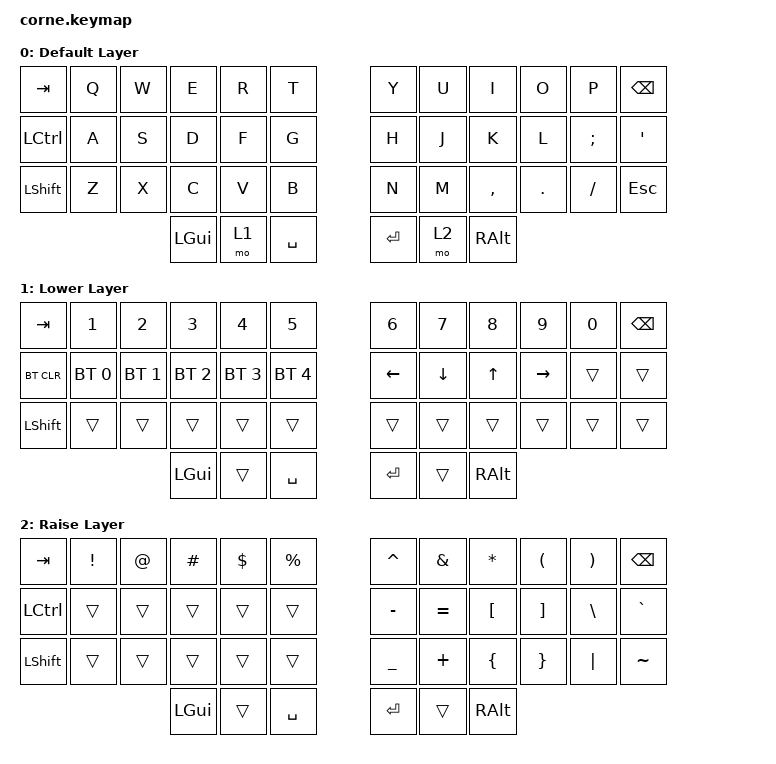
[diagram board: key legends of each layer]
/*
 * Copyright (c) 2020 The ZMK Contributors
 *
 * SPDX-License-Identifier: MIT
 */

#include <behaviors.dtsi>
#include <dt-bindings/zmk/keys.h>
#include <dt-bindings/zmk/bt.h>

/ {
        combos {
                compatible = "zmk,combos";
                // Gap bead: J+K home-row adjacent (all layers).
                combo_esc {
                        bindings = <&kp ESC>;
                        key-positions = <19 20>;
                        timeout-ms = <50>;
                };
                // Gap bead: vertical D+C on Lower.
                combo_l1_tab {
                        bindings = <&kp TAB>;
                        key-positions = <15 27>;
                        layers = <1>;
                        timeout-ms = <50>;
                };
                // Anchor bead: non-adjacent F+H on Lower.
                combo_l1_caps {
                        bindings = <&kp CAPS>;
                        key-positions = <16 18>;
                        layers = <1>;
                        timeout-ms = <50>;
                };
                // Gap bead: U+I on Raise.
                combo_l2_esc {
                        bindings = <&kp ESC>;
                        key-positions = <7 8>;
                        layers = <2>;
                        timeout-ms = <50>;
                };
                // Anchor bead: J+K+L triple on Raise.
                combo_l2_bspc {
                        bindings = <&kp BSPC>;
                        key-positions = <19 20 21>;
                        layers = <2>;
                        timeout-ms = <50>;
                };
        };

        keymap {
                compatible = "zmk,keymap";

                default_layer {
                        display-name = "Default Layer";
// -----------------------------------------------------------------------------------------
// |  TAB |  Q  |  W  |  E  |  R  |  T  |   |  Y  |  U   |  I  |  O  |  P  | BSPC |
// | CTRL |  A  |  S  |  D  |  F  |  G  |   |  H  |  J   |  K  |  L  |  ;  |  '   |
// | SHFT |  Z  |  X  |  C  |  V  |  B  |   |  N  |  M   |  ,  |  .  |  /  | ESC  |
//                    | GUI | LWR | SPC |   | ENT | RSE  | ALT |
                        bindings = <
   &kp TAB   &kp Q &kp W &kp E &kp R &kp T   &kp Y &kp U  &kp I     &kp O   &kp P    &kp BSPC
   &kp LCTRL &kp A &kp S &kp D &kp F &kp G   &kp H &kp J  &kp K     &kp L   &kp SEMI &kp SQT
   &kp LSHFT &kp Z &kp X &kp C &kp V &kp B   &kp N &kp M  &kp COMMA &kp DOT &kp FSLH &kp ESC
                  &kp LGUI &mo 1 &kp SPACE   &kp RET &mo 2 &kp RALT
                        >;
                };
                lower_layer {
                        display-name = "Lower Layer";
// -----------------------------------------------------------------------------------------
// |  TAB |  1  |  2  |  3  |  4  |  5  |   |  6  |  7  |  8  |  9  |  0  | BSPC |
// | BTCLR| BT1 | BT2 | BT3 | BT4 | BT5 |   | LFT | DWN |  UP | RGT |     |      |
// | SHFT |     |     |     |     |     |   |     |     |     |     |     |      |
//                    | GUI |     | SPC |   | ENT |     | ALT |
                        bindings = <
   &kp TAB    &kp N1       &kp N2       &kp N3       &kp N4       &kp N5         &kp N6   &kp N7   &kp N8 &kp N9    &kp N0 &kp BSPC
   &bt BT_CLR &bt BT_SEL 0 &bt BT_SEL 1 &bt BT_SEL 2 &bt BT_SEL 3 &bt BT_SEL 4   &kp LEFT &kp DOWN &kp UP &kp RIGHT &trans &trans
   &kp LSHFT  &trans       &trans       &trans       &trans       &trans         &trans   &trans   &trans &trans    &trans &trans
                                    &kp LGUI     &trans       &kp SPACE      &kp RET  &trans   &kp RALT
                        >;
                };

                raise_layer {
                        display-name = "Raise Layer";
// -----------------------------------------------------------------------------------------
// |  TAB |  !  |  @  |  #  |  $  |  %  |   |  ^  |  &  |  *  |  (  |  )  | BSPC |
// | CTRL |     |     |     |     |     |   |  -  |  =  |  [  |  ]  |  \  |  `   |
// | SHFT |     |     |     |     |     |   |  _  |  +  |  {  |  }  | "|" |  ~   |
//                    | GUI |     | SPC |   | ENT |     | ALT |
                        bindings = <
   &kp  TAB  &kp EXCL &kp AT &kp HASH &kp DLLR &kp PRCNT   &kp CARET &kp AMPS  &kp ASTRK &kp LPAR &kp RPAR &kp BSPC
   &kp LCTRL &trans   &trans &trans   &trans   &trans      &kp MINUS &kp EQUAL &kp LBKT  &kp RBKT &kp BSLH &kp GRAVE
   &kp LSHFT &trans   &trans &trans   &trans   &trans      &kp UNDER &kp PLUS  &kp LBRC  &kp RBRC &kp PIPE &kp TILDE
                             &kp LGUI &trans   &kp SPACE   &kp RET   &trans    &kp RALT
                        >;
                };
        };
};
